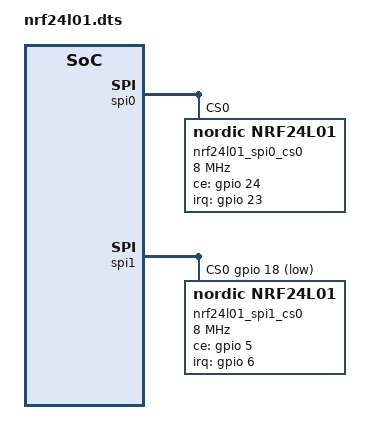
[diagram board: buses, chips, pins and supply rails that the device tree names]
/dts-v1/;
/plugin/;

/* SPI0 */

&spidev0 {
	status = "disabled";
};

&spidev1 {
	status = "disabled";
};

&spi0 {
	#address-cells = <1>;
	#size-cells = <0>;
	status = "okay";

	nrf24l01_spi0_cs0: nrf24l01@0 {
		compatible = "nordic,nrf24l01";
		model = "SPI0_cs0, nRF24L01 Single Chip 2.4GHz Transceiver";

		interrupt-parent = <&gpio>;
		interrupts = <23 2>;

		reg = <0>;

		spi-max-frequency = <8000000>;
		ce-gpios = <&gpio 24 0>;
	};
};

/* printctrl definition for spi1 pins - assign pins for SPI*/
&gpio {
	spi1_pins_overlay: spi1_pins_overlay {
		brcm,pins = <19 20 21>;     /* MISO, MOSI, SCLK */
		brcm,function = <3>;        /* ALT4 */
		brcm,pull = <2 0 0>;        /* MISO: pull-up, MOSI: none, SCLK: none */
	};

	spi1_cs_overlay: spi1_cs_overlay {
		brcm,pins = <18>;           /* CS0 */
		brcm,function = <1>;        /* OUTPUT */
		brcm,pull = <0>;            /* none */
	};
};

&spi1 {
	#address-cells = <1>;
	#size-cells = <0>;
	status = "okay";
	cs-gpios = <&gpio 18 1>;

	pinctrl-names = "default";
	pinctrl-0 = <&spi1_pins_overlay &spi1_cs_overlay>;

	nrf24l01_spi1_cs0: nrf24l01@0 {
		compatible = "nordic,nrf24l01";
		model = "SPI1_cs0, nRF24L01 Single Chip 2.4GHz Transceiver";
		interrupt-parent = <&gpio>;
		interrupts = <6 2>;
		reg = <0>;
		spi-max-frequency = <8000000>;
		ce-gpios = <&gpio 5 0>;
	};
};
